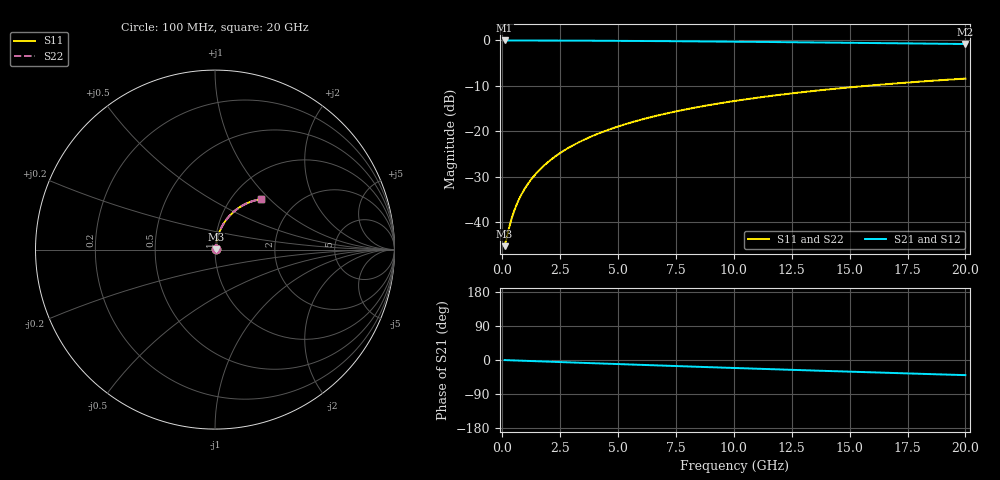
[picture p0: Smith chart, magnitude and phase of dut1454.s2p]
! Touchstone file exported from HFSS 2026.1.0
!  File:  C:/ffzhzh/LocalFiles/Ansys_Project_Files/temp_train_BSMRDL_1454_1783180785_43440.aedt
!  Generated:  12:00:59 AM Jul  5, 2026
!  Design:  BSMRDL
!  Project:  temp_train_BSMRDL_1454_1783180785_43440
! Variables:
!  h_bsmrdl = 4um
!  h_ox = 20um
!  h_rdl = 5um
!  h_sub = 80um
!  h_tmrdl = 5um
!  h_tsv = 80um
!  h_via = 3um
!  l_bsmrdl = 597.38um
!  l_sub = 997.38um
!  l_tmrdl = 200um
!  m_sub = 200um
!  pitch = 29.5um
!  r_tsv = 6um
!  s_tmrdl = 10um
!  w_bsmrdl = 10.86um
!  w_sub = 500um
!  w_tmrdl = 12um
!  x_tsv_center1 = 206um
!  x_tsv_center2 = 814.24um
!  x_tsv_center3 = 1026.24um
!  x_tsv_center4 = 1634.48um
!  x_tsv_center5 = 1846.48um
!  x_tsv_center6 = 2454.72um
# GHz S MA R 50.000000
! Terminal data exported
! Port[1] = BSM_RDL1_1_T1
! Port[2] = BSM_RDL1_1_T2
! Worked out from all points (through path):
!   200 points, 100 MHz to 20 GHz, reference 50 ohm
!   highest |S21| = -0.04 dB at 100 MHz (marker M1); lowest = -0.8 dB at 20 GHz (marker M2)
!   group delay of S21, straight-line fit = 5.55 ps
!   lowest |S11| = -45.2 dB at 100 MHz (marker M3), VSWR 1.01, Z = 50.5 + j0.246 ohm
!   |S11| at or under -10 dB: start of sweep to 15.76 GHz
!   |S22| runs from -45.2 to -8.4 dB; largest |S21 - S12| = 2.6e-15
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0.1  0.00548 26.4  0.9951 -0.2  0.9951 -0.2  0.00548 26.4
! Gamma 0 0 0 0
! Port Impedance 50 0 50 0
0.3  0.008883 54.5  0.9949 -0.7  0.9949 -0.7  0.008883 54.5
0.4  0.01095 60.9  0.9948 -0.9  0.9948 -0.9  0.01095 60.9
0.5  0.01309 65.1  0.9946 -1.1  0.9946 -1.1  0.01309 65.1
0.6  0.01526 68.0  0.9945 -1.3  0.9945 -1.3  0.01527 68.0
0.7  0.01746 70.2  0.9944 -1.6  0.9944 -1.6  0.01746 70.2
0.9  0.02187 73.1  0.9942 -2.0  0.9942 -2.0  0.02187 73.1
1.2  0.02856 75.7  0.9938 -2.6  0.9938 -2.6  0.02856 75.7
1.4  0.03304 76.7  0.9936 -3.1  0.9936 -3.1  0.03304 76.7
1.7  0.03978 77.6  0.9932 -3.7  0.9932 -3.7  0.03979 77.6
2.2  0.05104 78.1  0.9925 -4.8  0.9925 -4.8  0.05104 78.1
2.8  0.06452 78.0  0.9913 -6.1  0.9913 -6.1  0.06452 78.0
3.5  0.08014 77.3  0.9898 -7.6  0.9898 -7.6  0.08014 77.3
4.2  0.09559 76.4  0.9879 -9.1  0.9879 -9.1  0.09559 76.4
5  0.113 75.1  0.9854 -10.8  0.9854 -10.8  0.113 75.1
5.9  0.1323 73.5  0.9823 -12.7  0.9823 -12.7  0.1323 73.5
6.8  0.1511 71.8  0.9789 -14.6  0.9789 -14.6  0.1511 71.8
8.3  0.1817 69.0  0.9726 -17.6  0.9726 -17.6  0.1817 69.0
10.1  0.2168 65.6  0.9642 -21.3  0.9642 -21.3  0.2168 65.5
13.4  0.2769 59.4  0.9471 -27.7  0.9471 -27.7  0.2769 59.4
16.7  0.3311 53.5  0.9286 -34.0  0.9286 -34.0  0.3311 53.4
20  0.3794 47.7  0.9094 -40.0  0.9094 -40.0  0.3794 47.7
